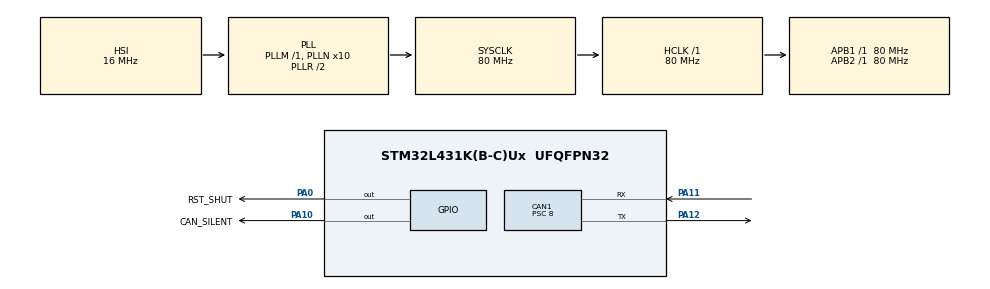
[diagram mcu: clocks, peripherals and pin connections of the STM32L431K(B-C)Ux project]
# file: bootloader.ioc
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CAN1.ABOM=ENABLE
CAN1.BS1=CAN_BS1_14TQ
CAN1.BS2=CAN_BS2_5TQ
CAN1.CalculateBaudRate=500000
CAN1.CalculateTimeBit=2000
CAN1.CalculateTimeQuantum=100.0
CAN1.Mode=CAN_MODE_NORMAL
CAN1.NART=ENABLE
CAN1.Prescaler=8
CAN1.RFLM=ENABLE
CAN1.SJW=CAN_SJW_1TQ
CAN1.TXFP=ENABLE
CRC.CRCLength=CRC_POLYLENGTH_16B
CRC.DefaultInitValueUse=DEFAULT_INIT_VALUE_DISABLE
CRC.DefaultPolynomialUse=DEFAULT_POLYNOMIAL_DISABLE
CRC.GeneratingPolynomial=X12+X5+X0
Mcu.Family=STM32L4
Mcu.Name=STM32L431K(B-C)Ux
Mcu.Package=UFQFPN32
NVIC.CAN1_RX0_IRQn=true\:0\:0\:false\:false\:true\:true\:true\:true
NVIC.CAN1_SCE_IRQn=true\:0\:0\:false\:false\:true\:true\:true\:true
NVIC.PriorityGroup=NVIC_PRIORITYGROUP_4
PA0.GPIO_Label=RST_SHUT
PA0.Signal=GPIO_Output
PA10.GPIO_Label=CAN_SILENT
PA10.Signal=GPIO_Output
PA11.Mode=CAN_Activate
PA11.Signal=CAN1_RX
PA12.Mode=CAN_Activate
PA12.Signal=CAN1_TX
PA13\ (JTMS-SWDIO).Mode=Trace_Asynchronous_SW
PA13\ (JTMS-SWDIO).Signal=SYS_JTMS-SWDIO
PA14\ (JTCK-SWCLK).Mode=Trace_Asynchronous_SW
PA14\ (JTCK-SWCLK).Signal=SYS_JTCK-SWCLK
PB3\ (JTDO-TRACESWO).Mode=Trace_Asynchronous_SW
PB3\ (JTDO-TRACESWO).Signal=SYS_JTDO-SWO
ProjectManager.HeapSize=0x0
ProjectManager.StackSize=0x400
ProjectManager.TargetToolchain=STM32CubeIDE
RCC.ADCFreq_Value=64000000
RCC.AHBFreq_Value=80000000
RCC.APB1Freq_Value=80000000
RCC.APB1TimFreq_Value=80000000
RCC.APB2Freq_Value=80000000
RCC.APB2TimFreq_Value=80000000
RCC.CortexFreq_Value=80000000
RCC.HCLKFreq_Value=80000000
RCC.HSE_VALUE=8000000
RCC.HSI48_VALUE=48000000
RCC.HSI_VALUE=16000000
RCC.LSE_VALUE=32768
RCC.MSI_VALUE=4000000
RCC.PLLN=10
RCC.PLLSourceVirtual=RCC_PLLSOURCE_HSI
RCC.SYSCLKFreq_VALUE=80000000
RCC.SYSCLKSource=RCC_SYSCLKSOURCE_PLLCLK
RCC.VCOOutputFreq_Value=160000000
VP_CRC_VS_CRC.Mode=CRC_Activate
VP_RTC_VS_RTC_Activate.Mode=RTC_Enabled
board=custom

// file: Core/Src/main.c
/* USER CODE BEGIN Header */
/**
 ******************************************************************************
 * @file           : main.c
 * @brief          : Main program body
 ******************************************************************************
 * @attention
 *
 * Copyright (c) 2025 STMicroelectronics.
 * All rights reserved.
 *
 * This software is licensed under terms that can be found in the LICENSE file
 * in the root directory of this software component.
 * If no LICENSE file comes with this software, it is provided AS-IS.
 *
 ******************************************************************************
 */
/* USER CODE END Header */
#include "main.h"

/* USER CODE BEGIN Includes */
#include <stdbool.h>
#include <string.h>
#include "menu.h"
/* USER CODE END Includes */

/* USER CODE BEGIN PD */
#define FW_UPDATE_BYTE_SEQUENCE_1 (0x5555AAAAu)
#define FW_UPDATE_BYTE_SEQUENCE_2 (0xAAAA5555u)

#define CAN_DOWNLOAD_STD_ID (0x230u)
#define CAN_UPLOAD_STD_ID   (0x232u)
#define CAN_ACK_ID          (0x555)
/* USER CODE END PD */

CAN_HandleTypeDef hcan1;

CRC_HandleTypeDef hcrc;

RTC_HandleTypeDef hrtc;

/* USER CODE BEGIN PV */
extern uint32_t  _estack;
extern pFunction JumpToApplication;
extern uint32_t  JumpAddress;
/* USER CODE END PV */

void        SystemClock_Config(void);
static void MX_GPIO_Init(void);
static void MX_CAN1_Init(void);
static void MX_RTC_Init(void);
static void MX_CRC_Init(void);

/* USER CODE BEGIN 0 */
uint32_t         dlc_error_count = 0;
volatile uint8_t can_silent      = 0;

void can_send_ack(void)
{
    CAN_TxHeaderTypeDef tx_header;
    uint8_t             tx_data[8];
    uint32_t            tx_mailbox;

    uint32_t tickstart = HAL_GetTick();
    uint32_t timeout   = 5 * 1000;

    /* Wait until tx buffer is available */
    while (HAL_CAN_GetTxMailboxesFreeLevel(&hcan1) == 0u)
    {
        /* Check for the Timeout */
        if (timeout != HAL_MAX_DELAY)
        {
            if (((HAL_GetTick() - tickstart) > timeout) || (timeout == 0u))
            {
                return;
            }
        }
    }

    tx_header.StdId = CAN_ACK_ID;
    tx_header.IDE   = CAN_ID_STD;
    tx_header.RTR   = CAN_RTR_DATA;
    tx_header.DLC   = 0;

    HAL_CAN_AddTxMessage(&hcan1, &tx_header, tx_data, &tx_mailbox);
}

void can_msg_rx_flush(void)
{
    CAN_RxHeaderTypeDef rx_header;
    uint8_t             rx_data[8];

    /* Wait until msg is received */
    while (HAL_CAN_GetRxFifoFillLevel(&hcan1, CAN_RX_FIFO0) != 0u)
    {
        HAL_CAN_GetRxMessage(&hcan1, CAN_RX_FIFO0, &rx_header, rx_data);
    }
}

HAL_StatusTypeDef can_msg_receive(uint8_t *pdata, uint32_t length, uint32_t timeout)
{
    CAN_RxHeaderTypeDef rx_header;
    uint8_t             rx_data[8];

    uint32_t tickstart = HAL_GetTick();
    uint32_t rx_count  = length;

    while (rx_count > 0u)
    {
        /* Wait until msg is received */
        while (HAL_CAN_GetRxFifoFillLevel(&hcan1, CAN_RX_FIFO0) == 0u)
        {
            /* Check for the Timeout */
            if (timeout != HAL_MAX_DELAY)
            {
                if (((HAL_GetTick() - tickstart) > timeout) || (timeout == 0u))
                {
                    return HAL_TIMEOUT;
                }
            }

            if (can_silent)
            {
                can_silent = 0;
                HAL_GPIO_WritePin(CAN_SILENT_GPIO_Port, CAN_SILENT_Pin, GPIO_PIN_RESET);
                HAL_CAN_Start(&hcan1);
            }
        }

        HAL_CAN_GetRxMessage(&hcan1, CAN_RX_FIFO0, &rx_header, rx_data);

        uint8_t bytes_to_copy = (uint8_t)rx_header.DLC;

        for (uint8_t i = 0u; i < bytes_to_copy; i++)
        {
            *pdata++ = rx_data[i];
        }

        rx_count -= bytes_to_copy;

        if (rx_count > 0x1FFFFFFF)    // numero muy grande: error
            rx_count = 0;
    }

    return HAL_OK;
}

HAL_StatusTypeDef can_msg_transmit(uint8_t *pdata, uint32_t length, uint32_t timeout)
{
    CAN_TxHeaderTypeDef tx_header;
    uint8_t             tx_data[8];
    uint32_t            tx_mailbox;

    uint32_t tickstart = HAL_GetTick();
    uint32_t tx_count  = length;

    while (tx_count > 0u)
    {
        /* Wait until tx buffer is available */
        while (HAL_CAN_GetTxMailboxesFreeLevel(&hcan1) == 0u)
        {
            /* Check for the Timeout */
            if (timeout != HAL_MAX_DELAY)
            {
                if (((HAL_GetTick() - tickstart) > timeout) || (timeout == 0u))
                {
                    return HAL_TIMEOUT;
                }
            }
        }

        uint8_t bytes_to_copy = (tx_count >= 8u) ? 8u : (uint8_t)tx_count;
        memset(tx_data, 0, sizeof(tx_data));

        for (uint8_t i = 0u; i < bytes_to_copy; i++)
        {
            tx_data[i] = *pdata++;
        }

        tx_count -= bytes_to_copy;

        tx_header.StdId = CAN_UPLOAD_STD_ID;
        tx_header.IDE   = CAN_ID_STD;
        tx_header.RTR   = CAN_RTR_DATA;
        tx_header.DLC   = bytes_to_copy;

        HAL_CAN_AddTxMessage(&hcan1, &tx_header, tx_data, &tx_mailbox);
    }

    return HAL_OK;
}

/**
 * @brief Determines if the system should enter bootloader mode.
 *
 * This function checks two conditions to decide whether to enter bootloader mode:
 * 1. It verifies if user application code is present at the specified APPLICATION_ADDRESS
 *    by comparing the stack pointer value with the expected _estack address.
 * 2. It checks if a firmware update has been requested by reading specific backup
 *    registers (RTC_BKP_DR0 and RTC_BKP_DR1) for predefined byte sequences.
 *    If these sequences match, bootloader mode is requested.
 *
 * @return true if bootloader mode is requested or user application is not
 *      present, or false if user application is present and no bootloader
 *      request is detected.
 */
bool is_bootloader_mode_requested(void)
{
    bool bootloader_mode = true;

    /* Test if user code is programmed starting from address "APPLICATION_ADDRESS" */
    /* WARNING: this assumes both _estack from bootloader and _estack from
    user application are located at the same address (top of SRAM1 0x2000C000)*/
    uint32_t tmp = ((*(__IO uint32_t *)APPLICATION_ADDRESS) & 0x3FFFF000);
    if (tmp == (uint32_t)&_estack)
    {
        bootloader_mode = false;
    }

    /* bootloader mode requested from user application */
    if (HAL_RTCEx_BKUPRead(&hrtc, RTC_BKP_DR0) == FW_UPDATE_BYTE_SEQUENCE_1 &&
        HAL_RTCEx_BKUPRead(&hrtc, RTC_BKP_DR1) == FW_UPDATE_BYTE_SEQUENCE_2)
    {
        bootloader_mode = true;
    }

    return bootloader_mode;
}

void main_deinit_peripherals(void)
{
    HAL_RTC_DeInit(&hrtc);
    HAL_CRC_DeInit(&hcrc);
    HAL_GPIO_DeInit(CAN_SILENT_GPIO_Port, CAN_SILENT_Pin);

    HAL_CAN_DeactivateNotification(&hcan1, CAN_IT_RX_FIFO0_FULL);
    HAL_CAN_DeInit(&hcan1);

    HAL_RCC_DeInit();
    HAL_DeInit();
}

volatile uint8_t version = 1;
/* USER CODE END 0 */

int main(void)
{

    /* MCU Configuration--------------------------------------------------------*/

    /* Reset of all peripherals, Initializes the Flash interface and the Systick. */
    (void)HAL_Init();

    /* Configure the system clock */
    SystemClock_Config();

    /* Initialize all configured peripherals */
    MX_GPIO_Init();
    MX_CAN1_Init();
    MX_RTC_Init();
    MX_CRC_Init();
    /* USER CODE BEGIN 2 */
#if 0    // for testing only
    if (version == 2)
    {
        HAL_RTCEx_BKUPWrite(&hrtc, RTC_BKP_DR0, 0);
        HAL_RTCEx_BKUPWrite(&hrtc, RTC_BKP_DR1, 0);
    }
#endif

    if (is_bootloader_mode_requested())
    {
        FLASH_If_Init();
        HAL_CAN_Start(&hcan1);

        Main_Menu();
    }
    else
    {
        main_deinit_peripherals();
        HAL_SuspendTick();

        /* Initialize user application's Stack Pointer & Jump to user application */
        JumpAddress = *(__IO uint32_t *)(APPLICATION_ADDRESS + 4);

        JumpToApplication = (pFunction)JumpAddress;

        __set_MSP(*(__IO uint32_t *)APPLICATION_ADDRESS);
        JumpToApplication();
    }
    /* USER CODE END 2 */

    /* Infinite loop */
    while (1)
    {

    }
}

void SystemClock_Config(void)
{
    RCC_OscInitTypeDef RCC_OscInitStruct = {0};
    RCC_ClkInitTypeDef RCC_ClkInitStruct = {0};

    /** Configure the main internal regulator output voltage
     */
    if (HAL_PWREx_ControlVoltageScaling(PWR_REGULATOR_VOLTAGE_SCALE1) != HAL_OK)
    {
        Error_Handler();
    }

    /** Initializes the RCC Oscillators according to the specified parameters
     * in the RCC_OscInitTypeDef structure.
     */
    RCC_OscInitStruct.OscillatorType      = RCC_OSCILLATORTYPE_HSI | RCC_OSCILLATORTYPE_LSI;
    RCC_OscInitStruct.HSIState            = RCC_HSI_ON;
    RCC_OscInitStruct.HSICalibrationValue = RCC_HSICALIBRATION_DEFAULT;
    RCC_OscInitStruct.LSIState            = RCC_LSI_ON;
    RCC_OscInitStruct.PLL.PLLState        = RCC_PLL_ON;
    RCC_OscInitStruct.PLL.PLLSource       = RCC_PLLSOURCE_HSI;
    RCC_OscInitStruct.PLL.PLLM            = 1;
    RCC_OscInitStruct.PLL.PLLN            = 10;
    RCC_OscInitStruct.PLL.PLLP            = RCC_PLLP_DIV7;
    RCC_OscInitStruct.PLL.PLLQ            = RCC_PLLQ_DIV2;
    RCC_OscInitStruct.PLL.PLLR            = RCC_PLLR_DIV2;
    if (HAL_RCC_OscConfig(&RCC_OscInitStruct) != HAL_OK)
    {
        Error_Handler();
    }

    /** Initializes the CPU, AHB and APB buses clocks
     */
    RCC_ClkInitStruct.ClockType      = RCC_CLOCKTYPE_HCLK | RCC_CLOCKTYPE_SYSCLK | RCC_CLOCKTYPE_PCLK1 | RCC_CLOCKTYPE_PCLK2;
    RCC_ClkInitStruct.SYSCLKSource   = RCC_SYSCLKSOURCE_PLLCLK;
    RCC_ClkInitStruct.AHBCLKDivider  = RCC_SYSCLK_DIV1;
    RCC_ClkInitStruct.APB1CLKDivider = RCC_HCLK_DIV1;
    RCC_ClkInitStruct.APB2CLKDivider = RCC_HCLK_DIV1;

    if (HAL_RCC_ClockConfig(&RCC_ClkInitStruct, FLASH_LATENCY_4) != HAL_OK)
    {
        Error_Handler();
    }
}

static void MX_CAN1_Init(void)
{

    hcan1.Instance                  = CAN1;
    hcan1.Init.Prescaler            = 8;
    hcan1.Init.Mode                 = CAN_MODE_NORMAL;
    hcan1.Init.SyncJumpWidth        = CAN_SJW_1TQ;
    hcan1.Init.TimeSeg1             = CAN_BS1_14TQ;
    hcan1.Init.TimeSeg2             = CAN_BS2_5TQ;
    hcan1.Init.TimeTriggeredMode    = DISABLE;
    hcan1.Init.AutoBusOff           = ENABLE;
    hcan1.Init.AutoWakeUp           = DISABLE;
    hcan1.Init.AutoRetransmission   = ENABLE;
    hcan1.Init.ReceiveFifoLocked    = ENABLE;
    hcan1.Init.TransmitFifoPriority = ENABLE;
    if (HAL_CAN_Init(&hcan1) != HAL_OK)
    {
        Error_Handler();
    }
    /* USER CODE BEGIN CAN1_Init 2 */

    CAN_FilterTypeDef sFilterConfig;
    sFilterConfig.FilterMode           = CAN_FILTERMODE_IDMASK;
    sFilterConfig.FilterScale          = CAN_FILTERSCALE_32BIT;
    sFilterConfig.FilterIdHigh         = 0x0000;
    sFilterConfig.FilterIdLow          = 0x0000;
    sFilterConfig.FilterMaskIdHigh     = 0x0000;
    sFilterConfig.FilterMaskIdLow      = 0x0000;
    sFilterConfig.SlaveStartFilterBank = 14;
    sFilterConfig.FilterBank           = 0;
    sFilterConfig.FilterFIFOAssignment = CAN_RX_FIFO0;
    sFilterConfig.FilterActivation     = CAN_FILTER_ENABLE;

    if (HAL_CAN_ConfigFilter(&hcan1, &sFilterConfig) != HAL_OK)
    {
        Error_Handler();
    }

    HAL_CAN_ActivateNotification(&hcan1, CAN_IT_RX_FIFO0_FULL);

    /* USER CODE END CAN1_Init 2 */
}

static void MX_CRC_Init(void)
{

    hcrc.Instance                     = CRC;
    hcrc.Init.DefaultPolynomialUse    = DEFAULT_POLYNOMIAL_DISABLE;
    hcrc.Init.DefaultInitValueUse     = DEFAULT_INIT_VALUE_DISABLE;
    hcrc.Init.GeneratingPolynomial    = 4129;
    hcrc.Init.CRCLength               = CRC_POLYLENGTH_16B;
    hcrc.Init.InitValue               = 0;
    hcrc.Init.InputDataInversionMode  = CRC_INPUTDATA_INVERSION_NONE;
    hcrc.Init.OutputDataInversionMode = CRC_OUTPUTDATA_INVERSION_DISABLE;
    hcrc.InputDataFormat              = CRC_INPUTDATA_FORMAT_BYTES;
    if (HAL_CRC_Init(&hcrc) != HAL_OK)
    {
        Error_Handler();
    }
}

static void MX_RTC_Init(void)
{

    /** Initialize RTC Only
     */
    hrtc.Instance            = RTC;
    hrtc.Init.HourFormat     = RTC_HOURFORMAT_24;
    hrtc.Init.AsynchPrediv   = 127;
    hrtc.Init.SynchPrediv    = 255;
    hrtc.Init.OutPut         = RTC_OUTPUT_DISABLE;
    hrtc.Init.OutPutRemap    = RTC_OUTPUT_REMAP_NONE;
    hrtc.Init.OutPutPolarity = RTC_OUTPUT_POLARITY_HIGH;
    hrtc.Init.OutPutType     = RTC_OUTPUT_TYPE_OPENDRAIN;
    if (HAL_RTC_Init(&hrtc) != HAL_OK)
    {
        Error_Handler();
    }
}

static void MX_GPIO_Init(void)
{
    GPIO_InitTypeDef GPIO_InitStruct = {0};

    /* GPIO Ports Clock Enable */
    __HAL_RCC_GPIOA_CLK_ENABLE();
    __HAL_RCC_GPIOB_CLK_ENABLE();

    /*Configure GPIO pin Output Level */
    HAL_GPIO_WritePin(GPIOA, RST_SHUT_Pin | CAN_SILENT_Pin, GPIO_PIN_RESET);

    /*Configure GPIO pins : RST_SHUT_Pin CAN_SILENT_Pin */
    GPIO_InitStruct.Pin   = RST_SHUT_Pin | CAN_SILENT_Pin;
    GPIO_InitStruct.Mode  = GPIO_MODE_OUTPUT_PP;
    GPIO_InitStruct.Pull  = GPIO_NOPULL;
    GPIO_InitStruct.Speed = GPIO_SPEED_FREQ_LOW;
    HAL_GPIO_Init(GPIOA, &GPIO_InitStruct);

}

/* USER CODE BEGIN 4 */
void HAL_CAN_RxFifo0FullCallback(CAN_HandleTypeDef *hcan)
{
    UNUSED(hcan);

    HAL_GPIO_WritePin(CAN_SILENT_GPIO_Port, CAN_SILENT_Pin, GPIO_PIN_SET);
    HAL_CAN_Stop(&hcan1);

    dlc_error_count++;

    can_silent = 1;
}
/* USER CODE END 4 */

__NO_RETURN void Error_Handler(void)
{
    __disable_irq();
    while (1)
    {
    }
}
